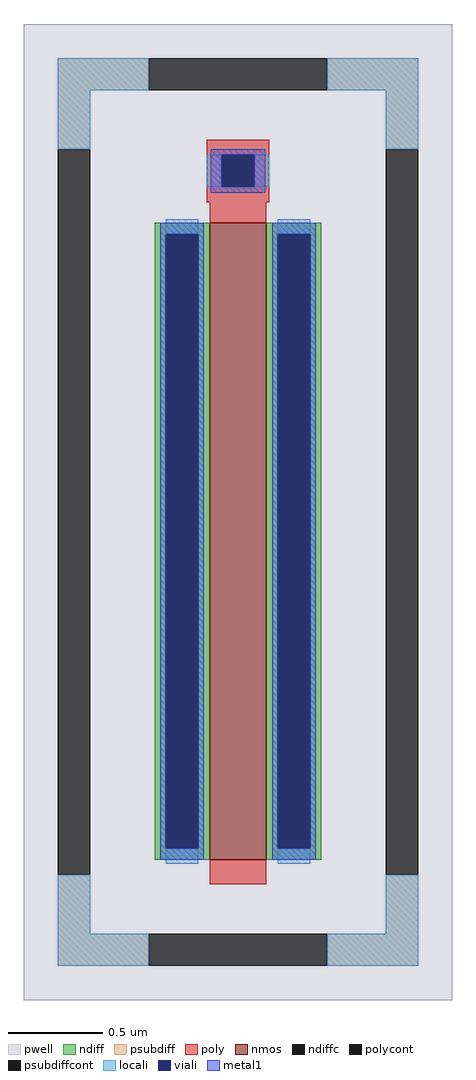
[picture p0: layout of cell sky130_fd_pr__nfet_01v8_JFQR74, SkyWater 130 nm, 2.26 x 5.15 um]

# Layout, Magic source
magic
tech sky130A
magscale 1 2
<< pwell >>
rect -226 -515 226 515
<< nmos >>
rect -30 -367 30 305
<< ndiff >>
rect -88 293 -30 305
rect -88 -355 -76 293
rect -42 -355 -30 293
rect -88 -367 -30 -355
rect 30 293 88 305
rect 30 -355 42 293
rect 76 -355 88 293
rect 30 -367 88 -355
<< ndiffc >>
rect -76 -355 -42 293
rect 42 -355 76 293
<< psubdiff >>
rect -190 445 -94 479
rect 94 445 190 479
rect -190 383 -156 445
rect 156 383 190 445
rect -190 -445 -156 -383
rect 156 -445 190 -383
rect -190 -479 -94 -445
rect 94 -479 190 -445
<< psubdiffcont >>
rect -94 445 94 479
rect -190 -383 -156 383
rect 156 -383 190 383
rect -94 -479 94 -445
<< poly >>
rect -33 377 33 393
rect -33 343 -17 377
rect 17 343 33 377
rect -33 327 33 343
rect -30 305 30 327
rect -30 -393 30 -367
<< polycont >>
rect -17 343 17 377
<< locali >>
rect -190 445 -94 479
rect 94 445 190 479
rect -190 383 -156 445
rect 156 383 190 445
rect -33 343 -17 377
rect 17 343 33 377
rect -76 293 -42 309
rect -76 -371 -42 -355
rect 42 293 76 309
rect 42 -371 76 -355
rect -190 -445 -156 -383
rect 156 -445 190 -383
rect -190 -479 -94 -445
rect 94 -479 190 -445
<< viali >>
rect -17 343 17 377
rect -76 -355 -42 293
rect 42 -355 76 293
<< metal1 >>
rect -29 377 29 383
rect -29 343 -17 377
rect 17 343 29 377
rect -29 337 29 343
rect -82 293 -36 305
rect -82 -355 -76 293
rect -42 -355 -36 293
rect -82 -367 -36 -355
rect 36 293 82 305
rect 36 -355 42 293
rect 76 -355 82 293
rect 36 -367 82 -355
<< properties >>
string FIXED_BBOX -173 -462 173 462
string gencell sky130_fd_pr__nfet_01v8
string library sky130
string parameters w 3.36 l 0.3 m 1 nf 1 diffcov 100 polycov 100 guard 1 glc 1 grc 1 gtc 1 gbc 1 tbcov 100 rlcov 100 topc 1 botc 0 poverlap 0 doverlap 1 lmin 0.15 wmin 0.42 compatible {sky130_fd_pr__nfet_01v8 sky130_fd_pr__nfet_01v8_lvt  sky130_fd_bs_flash__special_sonosfet_star  sky130_fd_pr__nfet_g5v0d10v5 sky130_fd_pr__nfet_05v0_nvt  sky130_fd_pr__nfet_03v3_nvt} full_metal 1 viasrc 100 viadrn 100 viagate 100 viagb 0 viagr 0 viagl 0 viagt 0
<< end >>
